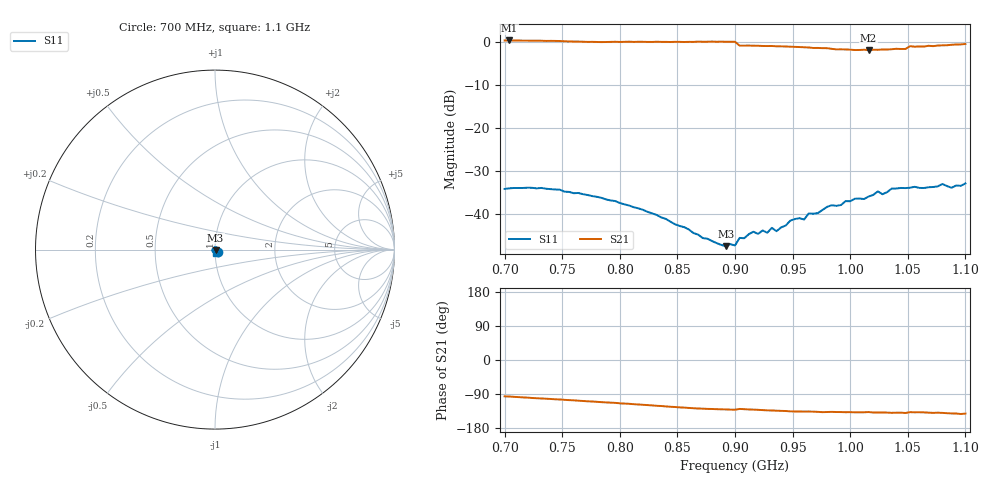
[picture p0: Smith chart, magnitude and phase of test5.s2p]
# HZ S RI R 50
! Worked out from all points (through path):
!   101 points, 700 MHz to 1.1 GHz, reference 50 ohm
!   highest |S21| = 0.24 dB at 704 MHz (marker M1); lowest = -2.0 dB at 1.016 GHz (marker M2)
!   group delay of S21, straight-line fit = 316 ps
!   lowest |S11| = -47.5 dB at 892 MHz (marker M3), VSWR 1.01, Z = 50.3 - j0.265 ohm
!   |S11| at or under -10 dB: start of sweep to end of sweep
!   S12 and S22 are empty: the file has one direction only
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7e8  0.0145 -0.0129  -0.1053 -1.023  0 0  0 0
7.04e8  0.013 -0.0148  -0.1139 -1.022  0 0  0 0
7.68e8  -0.0129 -0.0108  -0.31 -0.9451  0 0  0 0
8.36e8  -0.00246 0.00871  -0.5161 -0.8446  0 0  0 0
8.92e8  0.00327 -0.00263  -0.6429 -0.7558  0 0  0 0
9e8  0.00212 -0.00371  -0.6528 -0.7462  0 0  0 0
9.04e8  0.00198 -0.00485  -0.5648 -0.6946  0 0  0 0
9.16e8  -0.000735 -0.00614  -0.5858 -0.6747  0 0  0 0
9.28e8  -0.00442 -0.00406  -0.6031 -0.6488  0 0  0 0
9.32e8  -0.0049 -0.00478  -0.6072 -0.6466  0 0  0 0
9.36e8  -0.00561 -0.00278  -0.6088 -0.6355  0 0  0 0
9.48e8  -0.0083 -0.000253  -0.621 -0.609  0 0  0 0
9.6e8  -0.00789 0.00332  -0.6183 -0.5935  0 0  0 0
9.64e8  -0.00791 0.00622  -0.6134 -0.5922  0 0  0 0
9.68e8  -0.00703 0.00712  -0.6084 -0.5806  0 0  0 0
1.016e9  0.0112 0.0112  -0.584 -0.5378  0 0  0 0
1.036e9  0.0185 0.00627  -0.6169 -0.5288  0 0  0 0
1.048e9  0.0198 0.000395  -0.6259 -0.5285  0 0  0 0
1.052e9  0.02 -0.00102  -0.6524 -0.5943  0 0  0 0
1.08e9  0.0163 -0.015  -0.6875 -0.5855  0 0  0 0
1.088e9  0.0124 -0.0157  -0.712 -0.5765  0 0  0 0
1.1e9  0.00812 -0.0209  -0.7305 -0.585  0 0  0 0
